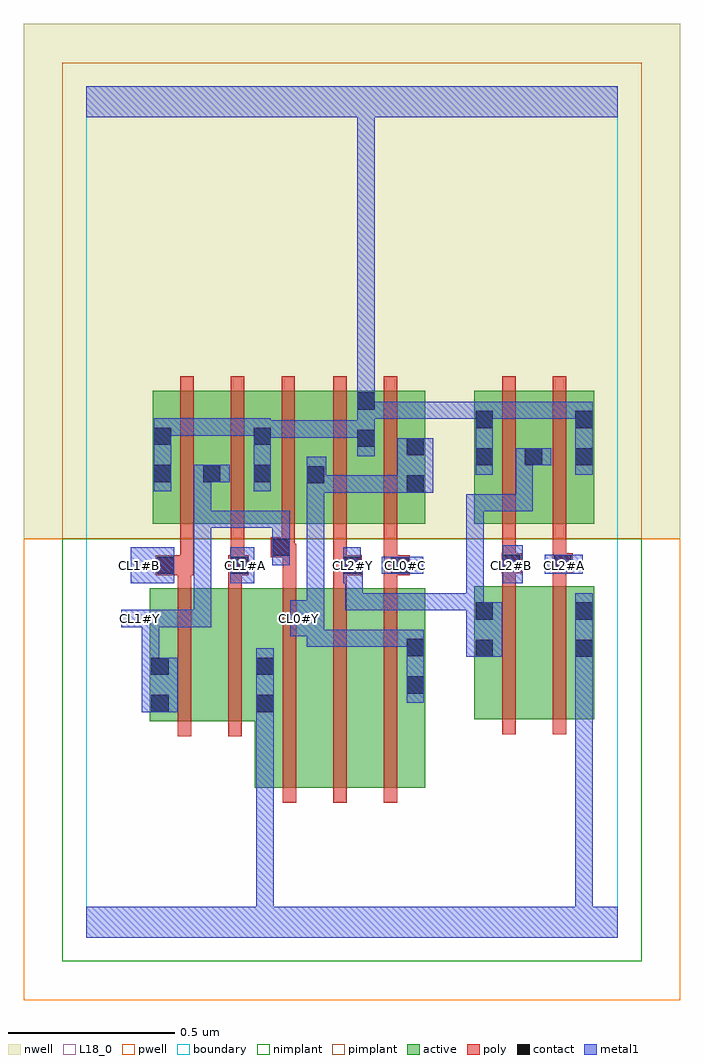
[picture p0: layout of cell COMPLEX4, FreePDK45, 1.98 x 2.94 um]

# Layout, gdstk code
import gdstk
lib = gdstk.Library(unit=1e-6, precision=1e-09)
def R(c, l, rs):  # rectangles x0, y0, x1, y1
    for r in rs: c.add(gdstk.rectangle(r[:2], r[2:], *l))
def A(c, l, x, y, w, h, nx, ny, dx, dy):  # array of equal rectangles
    R(c, l, [(x+i*dx, y+j*dy, x+i*dx+w, y+j*dy+h) for i in range(nx) for j in range(ny)])
active = (1, 0)
pwell = (2, 0)
nwell = (3, 0)
nimplant = (4, 0)
pimplant = (5, 0)
poly = (9, 0)
contact = (10, 0)
metal1 = (11, 0)
L18_0 = (18, 0)
boundary = (235, 0)

complex4 = lib.new_cell('COMPLEX4')
R(complex4, active, [(0.508,0.45,0.688,1.05), (0.688,0.45,0.84,1.05), (0.84,0.45,1.02,1.05), (0.96,0.45,1.02,1.05), (0.508,0.504,0.568,1.05), (0.192,0.65,0.252,1.05), (0.192,0.65,0.372,1.05), (0.372,0.65,0.568,1.05), (1.168,0.656,1.228,1.056), (1.168,0.656,1.348,1.056), (1.348,0.656,1.528,1.056), (1.468,0.656,1.528,1.056), (0.2,1.244,0.26,1.644), (0.2,1.244,0.408,1.644), (0.348,1.244,0.408,1.644), (0.348,1.244,0.56,1.644), (0.5,1.244,0.56,1.644), (0.5,1.244,0.72,1.644), (0.66,1.244,0.72,1.644), (0.66,1.244,0.872,1.644), (0.812,1.244,0.872,1.644), (0.812,1.244,1.02,1.644), (0.96,1.244,1.02,1.644), (1.168,1.244,1.228,1.644), (1.168,1.244,1.376,1.644), (1.316,1.244,1.376,1.644), (1.316,1.244,1.528,1.644), (1.468,1.244,1.528,1.644)])
R(complex4, pwell, [(-0.188,-0.188,1.788,1.2)])
R(complex4, nwell, [(-0.188,1.2,1.788,2.748)])
R(complex4, nimplant, [(-0.072,-0.072,1.672,1.2)])
R(complex4, pimplant, [(-0.072,1.2,1.672,2.632)])
A(complex4, poly, 0.592, 0.406, 0.04, 0.688, 3, 1, 0.152, 0)
A(complex4, poly, 0.284, 1.2, 0.04, 0.488, 3, 1, 0.152, 0)
R(complex4, poly, [(0.276,0.606,0.316,1.094), (0.428,0.606,0.468,1.094), (1.252,0.612,1.292,1.1), (1.404,0.612,1.444,1.1), (0.276,1.054,0.316,1.13), (0.428,1.054,0.468,1.13), (0.592,1.054,0.632,1.184), (0.744,1.054,0.784,1.13), (0.896,1.054,0.936,1.13), (1.252,1.06,1.292,1.136), (1.404,1.06,1.444,1.136), (0.21,1.09,0.324,1.15), (0.276,1.09,0.316,1.13), (0.276,1.09,0.316,1.13), (0.428,1.09,0.49,1.15), (0.744,1.09,0.83,1.15), (0.896,1.09,0.936,1.13), (0.896,1.09,0.936,1.13), (0.896,1.09,0.974,1.15), (1.25,1.096,1.31,1.156), (1.404,1.096,1.464,1.156), (0.284,1.11,0.324,1.24), (0.436,1.11,0.476,1.15), (0.436,1.11,0.476,1.15), (0.436,1.11,0.476,1.24), (0.744,1.11,0.784,1.15), (0.744,1.11,0.784,1.15), (0.744,1.11,0.784,1.24), (0.896,1.11,0.936,1.24), (1.252,1.116,1.292,1.24), (1.252,1.116,1.292,1.156), (1.252,1.116,1.292,1.156), (1.404,1.116,1.444,1.24), (1.404,1.116,1.444,1.156), (1.404,1.116,1.444,1.156), (0.556,1.144,0.628,1.204), (0.588,1.144,0.628,1.184), (0.588,1.144,0.632,1.184), (0.588,1.164,0.628,1.24), (0.744,1.2,0.784,1.688), (0.896,1.2,0.936,1.688), (1.252,1.2,1.292,1.688), (1.404,1.2,1.444,1.688)])
R(complex4, contact, [(0.196,0.678,0.248,0.73), (0.512,0.678,0.564,0.73), (0.964,0.734,1.016,0.786), (0.196,0.79,0.248,0.842), (0.512,0.79,0.564,0.842), (1.172,0.844,1.224,0.896), (1.472,0.844,1.524,0.896), (0.964,0.846,1.016,0.898), (1.172,0.956,1.224,1.008), (1.472,0.956,1.524,1.008), (0.214,1.094,0.266,1.146), (0.434,1.094,0.486,1.146), (0.774,1.094,0.826,1.146), (0.918,1.094,0.97,1.146), (1.254,1.1,1.306,1.152), (1.408,1.1,1.46,1.152), (0.56,1.148,0.612,1.2), (0.964,1.338,1.016,1.39), (0.664,1.366,0.716,1.418), (0.204,1.37,0.256,1.422), (0.352,1.37,0.404,1.422), (0.504,1.37,0.556,1.422), (1.172,1.42,1.224,1.472), (1.32,1.42,1.372,1.472), (1.472,1.42,1.524,1.472), (0.964,1.45,1.016,1.502), (0.816,1.476,0.868,1.528), (0.204,1.482,0.256,1.534), (0.504,1.482,0.556,1.534), (1.172,1.532,1.224,1.584), (1.472,1.532,1.524,1.584), (0.816,1.588,0.868,1.64)])
R(complex4, metal1, [(0,0,1.6,0.092), (0.512,0.04,0.564,0.092), (0.512,0.04,0.564,0.092), (0.512,0.04,0.564,0.092), (0.512,0.04,0.564,0.092), (0.512,0.04,0.564,0.092), (0.512,0.04,0.564,0.092), (0.512,0.04,0.564,0.092), (0.512,0.04,0.564,0.092), (0.512,0.04,0.564,0.702), (1.472,0.04,1.524,0.092), (1.472,0.04,1.524,0.092), (1.472,0.04,1.524,0.092), (1.472,0.04,1.524,0.092), (1.472,0.04,1.524,0.092), (1.472,0.04,1.524,0.092), (1.472,0.04,1.524,0.868), (0.512,0.65,0.564,0.87), (0.168,0.678,0.276,0.842), (0.964,0.706,1.016,0.926), (0.168,0.79,0.22,0.986), (1.472,0.816,1.524,0.868), (1.472,0.816,1.524,0.868), (1.472,0.816,1.524,0.868), (1.472,0.816,1.524,0.868), (1.472,0.816,1.524,0.868), (1.472,0.816,1.524,0.868), (1.472,0.816,1.524,1.036), (1.144,0.844,1.252,1.008), (0.664,0.874,0.716,0.926), (0.664,0.874,0.832,0.926), (0.664,0.874,0.716,0.958), (0.78,0.874,0.832,0.926), (0.78,0.874,0.832,0.926), (0.78,0.874,0.832,0.926), (0.78,0.874,1.016,0.926), (0.964,0.874,1.016,0.926), (0.964,0.874,1.016,0.926), (0.614,0.906,0.716,1.014), (0.106,0.934,0.22,0.986), (0.168,0.934,0.22,0.986), (0.168,0.934,0.22,0.986), (0.168,0.934,0.376,0.986), (0.324,0.934,0.376,0.986), (0.324,0.934,0.376,1.284), (1.144,0.956,1.196,1.036), (0.664,0.962,0.716,1.014), (0.664,0.962,0.716,1.014), (0.664,0.962,0.716,1.39), (0.78,0.984,1.086,1.036), (0.78,0.984,0.832,1.118), (1.034,0.984,1.086,1.036), (1.034,0.984,1.086,1.036), (1.034,0.984,1.086,1.036), (1.034,0.984,1.196,1.036), (1.144,0.984,1.196,1.036), (1.144,0.984,1.196,1.334), (0.134,1.066,0.266,1.174), (0.434,1.066,0.506,1.174), (0.774,1.066,0.832,1.118), (0.774,1.066,0.826,1.174), (1.254,1.066,1.314,1.18), (0.89,1.094,1.014,1.146), (1.38,1.094,1.494,1.152), (0.56,1.12,0.612,1.284), (0.324,1.232,0.376,1.284), (0.324,1.232,0.376,1.284), (0.324,1.232,0.376,1.284), (0.324,1.232,0.376,1.422), (0.324,1.232,0.556,1.284), (0.504,1.232,0.556,1.284), (0.504,1.232,0.612,1.284), (1.144,1.282,1.196,1.334), (1.144,1.282,1.196,1.334), (1.144,1.282,1.196,1.334), (1.144,1.282,1.344,1.334), (1.292,1.282,1.344,1.334), (1.292,1.282,1.344,1.472), (0.664,1.338,0.722,1.446), (0.67,1.338,0.722,1.39), (0.67,1.338,0.722,1.39), (0.67,1.338,0.85,1.39), (0.798,1.338,0.85,1.39), (0.798,1.338,0.988,1.39), (0.936,1.338,0.988,1.39), (0.936,1.338,0.988,1.39), (0.936,1.338,1.044,1.502), (0.204,1.342,0.256,1.562), (0.504,1.342,0.556,1.562), (0.324,1.37,0.432,1.422), (1.172,1.392,1.224,1.612), (1.472,1.392,1.524,1.612), (1.292,1.42,1.4,1.472), (0.816,1.448,0.868,1.668), (0.504,1.504,0.556,1.556), (0.504,1.504,0.556,1.556), (0.504,1.504,0.666,1.556), (0.614,1.504,0.666,1.556), (0.614,1.504,0.826,1.556), (0.774,1.504,0.826,1.556), (0.774,1.504,0.868,1.556), (0.204,1.51,0.256,1.562), (0.204,1.51,0.256,1.562), (0.204,1.51,0.446,1.562), (0.394,1.51,0.446,1.562), (0.394,1.51,0.446,1.562), (0.394,1.51,0.446,1.562), (0.394,1.51,0.556,1.562), (0.816,1.56,1.086,1.612), (1.034,1.56,1.086,1.612), (1.034,1.56,1.086,1.612), (1.034,1.56,1.086,1.612), (1.034,1.56,1.224,1.612), (1.172,1.56,1.224,1.612), (1.172,1.56,1.224,1.612), (1.172,1.56,1.334,1.612), (1.282,1.56,1.334,1.612), (1.282,1.56,1.524,1.612), (1.472,1.56,1.524,1.612), (1.472,1.56,1.524,1.612), (0.816,1.616,0.868,2.52), (0,2.468,1.6,2.56), (0.816,2.468,0.868,2.52), (0.816,2.468,0.868,2.52), (0.816,2.468,0.868,2.52), (0.816,2.468,0.868,2.52), (0.816,2.468,0.868,2.52), (0.816,2.468,0.868,2.52), (0.816,2.468,0.868,2.52), (0.816,2.468,0.868,2.52), (0.816,2.468,0.868,2.52), (0.816,2.468,0.868,2.52), (0.816,2.468,0.868,2.52), (0.816,2.468,0.868,2.52), (0.816,2.468,0.868,2.52), (0.816,2.468,0.868,2.52), (0.816,2.468,0.868,2.52), (0.816,2.468,0.868,2.52)])
A(complex4, L18_0, 0.134, 1.094, 0.052, 0.052, 3, 1, 0.32, 0)
R(complex4, L18_0, [(0,0,1.6,0.092), (0.512,0.04,0.564,0.092), (0.512,0.04,0.564,0.092), (0.512,0.04,0.564,0.092), (0.512,0.04,0.564,0.092), (0.512,0.04,0.564,0.092), (0.512,0.04,0.564,0.092), (0.512,0.04,0.564,0.092), (0.512,0.04,0.564,0.092), (0.512,0.04,0.564,0.702), (1.472,0.04,1.524,0.092), (1.472,0.04,1.524,0.092), (1.472,0.04,1.524,0.092), (1.472,0.04,1.524,0.092), (1.472,0.04,1.524,0.092), (1.472,0.04,1.524,0.092), (1.472,0.04,1.524,0.868), (0.512,0.65,0.564,0.87), (0.168,0.678,0.276,0.842), (0.964,0.706,1.016,0.926), (0.168,0.79,0.22,0.986), (1.472,0.816,1.524,1.036), (1.472,0.816,1.524,0.868), (1.472,0.816,1.524,0.868), (1.472,0.816,1.524,0.868), (1.472,0.816,1.524,0.868), (1.472,0.816,1.524,0.868), (1.472,0.816,1.524,0.868), (1.144,0.844,1.252,1.008), (0.664,0.874,0.716,0.926), (0.664,0.874,0.716,0.958), (0.664,0.874,0.832,0.926), (0.78,0.874,0.832,0.926), (0.78,0.874,0.832,0.926), (0.78,0.874,0.832,0.926), (0.78,0.874,1.016,0.926), (0.964,0.874,1.016,0.926), (0.964,0.874,1.016,0.926), (0.614,0.906,0.716,1.014), (0.106,0.934,0.22,0.986), (0.134,0.934,0.186,0.986), (0.168,0.934,0.22,0.986), (0.168,0.934,0.22,0.986), (0.168,0.934,0.376,0.986), (0.324,0.934,0.376,0.986), (0.324,0.934,0.376,1.284), (0.614,0.934,0.666,0.986), (1.144,0.956,1.196,1.036), (0.664,0.962,0.716,1.014), (0.664,0.962,0.716,1.014), (0.664,0.962,0.716,1.39), (0.78,0.984,0.832,1.118), (0.78,0.984,1.086,1.036), (1.034,0.984,1.086,1.036), (1.034,0.984,1.086,1.036), (1.034,0.984,1.086,1.036), (1.034,0.984,1.196,1.036), (1.144,0.984,1.196,1.036), (1.144,0.984,1.196,1.334), (0.134,1.066,0.266,1.174), (0.434,1.066,0.506,1.174), (0.774,1.066,0.826,1.174), (0.774,1.066,0.832,1.118), (1.254,1.066,1.314,1.18), (0.89,1.094,1.014,1.146), (0.934,1.094,0.986,1.146), (1.254,1.094,1.306,1.146), (1.38,1.094,1.494,1.152), (1.414,1.094,1.466,1.146), (0.56,1.12,0.612,1.284), (0.324,1.232,0.376,1.284), (0.324,1.232,0.376,1.284), (0.324,1.232,0.376,1.284), (0.324,1.232,0.376,1.422), (0.324,1.232,0.556,1.284), (0.504,1.232,0.556,1.284), (0.504,1.232,0.612,1.284), (1.144,1.282,1.196,1.334), (1.144,1.282,1.196,1.334), (1.144,1.282,1.196,1.334), (1.144,1.282,1.344,1.334), (1.292,1.282,1.344,1.334), (1.292,1.282,1.344,1.472), (0.664,1.338,0.722,1.446), (0.67,1.338,0.722,1.39), (0.67,1.338,0.722,1.39), (0.67,1.338,0.85,1.39), (0.798,1.338,0.85,1.39), (0.798,1.338,0.988,1.39), (0.936,1.338,1.044,1.502), (0.936,1.338,0.988,1.39), (0.936,1.338,0.988,1.39), (0.204,1.342,0.256,1.562), (0.504,1.342,0.556,1.562), (0.324,1.37,0.432,1.422), (1.172,1.392,1.224,1.612), (1.472,1.392,1.524,1.612), (1.292,1.42,1.4,1.472), (0.816,1.448,0.868,1.668), (0.504,1.504,0.556,1.556), (0.504,1.504,0.556,1.556), (0.504,1.504,0.666,1.556), (0.614,1.504,0.666,1.556), (0.614,1.504,0.826,1.556), (0.774,1.504,0.826,1.556), (0.774,1.504,0.868,1.556), (0.204,1.51,0.256,1.562), (0.204,1.51,0.256,1.562), (0.204,1.51,0.446,1.562), (0.394,1.51,0.446,1.562), (0.394,1.51,0.446,1.562), (0.394,1.51,0.446,1.562), (0.394,1.51,0.556,1.562), (0.816,1.56,1.086,1.612), (1.034,1.56,1.086,1.612), (1.034,1.56,1.086,1.612), (1.034,1.56,1.086,1.612), (1.034,1.56,1.224,1.612), (1.172,1.56,1.224,1.612), (1.172,1.56,1.224,1.612), (1.172,1.56,1.334,1.612), (1.282,1.56,1.334,1.612), (1.282,1.56,1.524,1.612), (1.472,1.56,1.524,1.612), (1.472,1.56,1.524,1.612), (0.816,1.616,0.868,2.52), (0,2.468,1.6,2.56), (0.816,2.468,0.868,2.52), (0.816,2.468,0.868,2.52), (0.816,2.468,0.868,2.52), (0.816,2.468,0.868,2.52), (0.816,2.468,0.868,2.52), (0.816,2.468,0.868,2.52), (0.816,2.468,0.868,2.52), (0.816,2.468,0.868,2.52), (0.816,2.468,0.868,2.52), (0.816,2.468,0.868,2.52), (0.816,2.468,0.868,2.52), (0.816,2.468,0.868,2.52), (0.816,2.468,0.868,2.52), (0.816,2.468,0.868,2.52), (0.816,2.468,0.868,2.52), (0.816,2.468,0.868,2.52)])
R(complex4, boundary, [(0,0,1.6,2.56)])
complex4.add(gdstk.Label('CL0#C', (0.96,1.12), layer=11, texttype=0))
complex4.add(gdstk.Label('CL0#Y', (0.64,0.96), layer=11, texttype=0))
complex4.add(gdstk.Label('CL1#A', (0.48,1.12), layer=11, texttype=0))
complex4.add(gdstk.Label('CL1#B', (0.16,1.12), layer=11, texttype=0))
complex4.add(gdstk.Label('CL1#Y', (0.16,0.96), layer=11, texttype=0))
complex4.add(gdstk.Label('CL2#A', (1.44,1.12), layer=11, texttype=0))
complex4.add(gdstk.Label('CL2#B', (1.28,1.12), layer=11, texttype=0))
complex4.add(gdstk.Label('CL2#Y', (0.8,1.12), layer=11, texttype=0))

lib.write_gds('COMPLEX4.gds')
